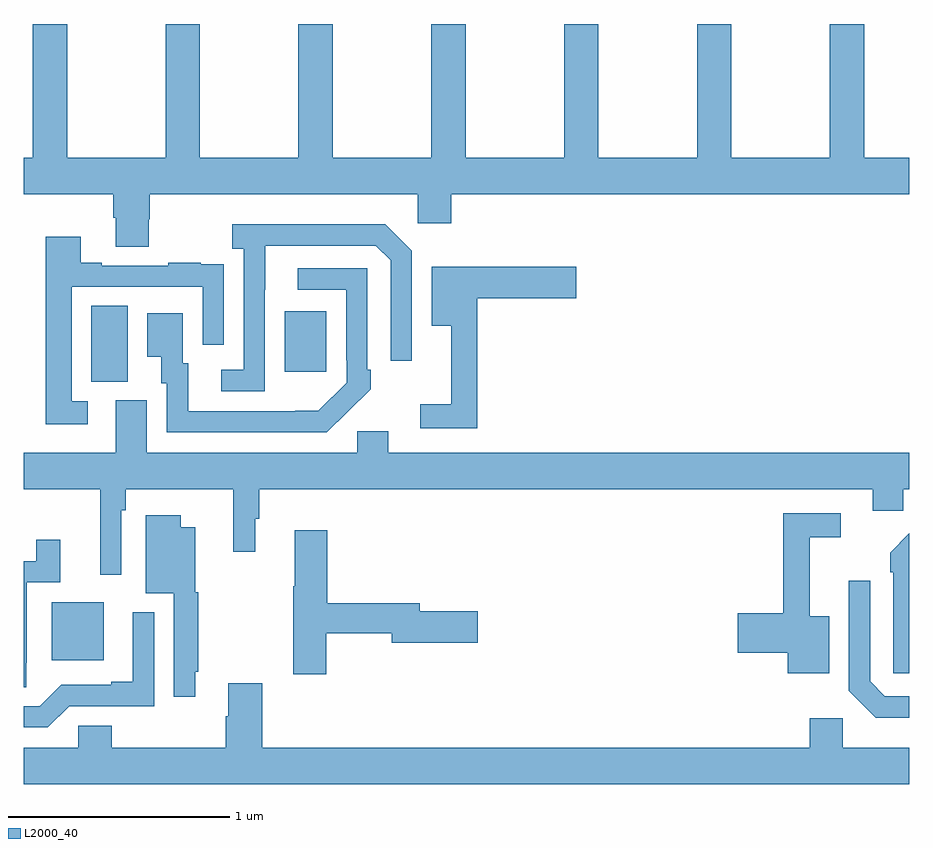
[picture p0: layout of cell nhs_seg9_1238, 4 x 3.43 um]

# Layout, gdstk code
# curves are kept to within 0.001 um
import gdstk
lib = gdstk.Library(unit=1e-6, precision=1e-09)
def R(c, l, rs):  # rectangles x0, y0, x1, y1
    for r in rs: c.add(gdstk.rectangle(r[:2], r[2:], *l))
def P(c, l, *ps):  # polygons
    for p in ps: c.add(gdstk.Polygon(p, *l))
L2000_40 = (2000, 40)

nhs_seg9_1238 = lib.new_cell('nhs_seg9_1238')
R(nhs_seg9_1238, L2000_40, [(179.126,1215.626,179.362,1215.889), (179.306,1216.885,179.47,1217.228), (180.179,1216.929,180.367,1217.203)])
P(nhs_seg9_1238, L2000_40, [(183,1217.896),(182.796,1217.896),(182.796,1218.5),(182.641,1218.5),(182.641,1217.896),(182.196,1217.896),(182.196,1218.5),(182.041,1218.5),(182.041,1217.896),(181.596,1217.896),(181.596,1218.5),(181.441,1218.5),(181.441,1217.896),(180.996,1217.896),(180.996,1218.5),(180.841,1218.5),(180.841,1217.896),(180.396,1217.896),(180.396,1218.5),(180.241,1218.5),(180.241,1217.896),(179.796,1217.896),(179.796,1218.5),(179.641,1218.5),(179.641,1217.896),(179.196,1217.896),(179.196,1218.5),(179.041,1218.5),(179.041,1217.896),(179,1217.896),(179,1217.732),(179.405,1217.732),(179.405,1217.626),(179.417,1217.626),(179.417,1217.494),(179.565,1217.494),(179.565,1217.619),(179.57,1217.619),(179.57,1217.732),(180.78,1217.732),(180.78,1217.601),(180.932,1217.601),(180.932,1217.732),(183,1217.732)],
  [(180.09,1217.299),(180.091,1217.499),(180.591,1217.499),(180.657,1217.433),(180.657,1216.98),(180.753,1216.98),(180.753,1217.475),(180.632,1217.596),(179.943,1217.596),(179.943,1217.486),(179.994,1217.486),(179.994,1216.938),(179.892,1216.938),(179.892,1216.842),(180.09,1216.842)],
  [(179.29,1216.797),(179.217,1216.797),(179.217,1217.313),(179.808,1217.313),(179.808,1217.052),(179.904,1217.052),(179.904,1217.306),(179.903,1217.306),(179.903,1217.415),(179.801,1217.415),(179.801,1217.422),(179.653,1217.422),(179.653,1217.409),(179.353,1217.409),(179.353,1217.422),(179.257,1217.422),(179.257,1217.539),(179.101,1217.539),(179.101,1216.692),(179.29,1216.692)],
  [(181.049,1217.261),(181.495,1217.261),(181.495,1217.403),(180.842,1217.403),(180.842,1217.138),(180.932,1217.138),(180.932,1216.783),(180.792,1216.783),(180.792,1216.674),(181.049,1216.674)],
  [(180.461,1216.747),(180.462,1216.746),(180.567,1216.851),(180.567,1216.939),(180.552,1216.939),(180.552,1217.397),(180.237,1217.397),(180.237,1217.301),(180.456,1217.301),(180.456,1216.981),(180.459,1216.981),(180.459,1216.881),(180.331,1216.753),(179.743,1216.752),(179.743,1216.968),(179.719,1216.968),(179.719,1217.194),(179.558,1217.194),(179.558,1216.997),(179.621,1216.997),(179.621,1216.878),(179.646,1216.878),(179.646,1216.656),(180.37,1216.656)],
  [(179.442,1216.304),(179.462,1216.304),(179.462,1216.4),(179.947,1216.4),(179.947,1216.116),(180.046,1216.116),(180.046,1216.266),(180.065,1216.266),(180.065,1216.4),(182.834,1216.4),(182.834,1216.302),(182.973,1216.302),(182.973,1216.4),(183,1216.4),(183,1216.564),(180.646,1216.564),(180.646,1216.662),(180.507,1216.662),(180.507,1216.564),(179.557,1216.564),(179.557,1216.8),(179.417,1216.8),(179.417,1216.564),(179,1216.564),(179,1216.4),(179.345,1216.4),(179.345,1216.014),(179.442,1216.014)],
  [(182.638,1215.826),(182.549,1215.826),(182.549,1216.182),(182.689,1216.182),(182.689,1216.29),(182.431,1216.29),(182.431,1215.839),(182.226,1215.839),(182.226,1215.661),(182.45,1215.661),(182.45,1215.569),(182.638,1215.569)],
  [(179.776,1215.574),(179.788,1215.574),(179.788,1215.933),(179.776,1215.933),(179.776,1216.228),(179.71,1216.228),(179.71,1216.282),(179.552,1216.282),(179.552,1215.929),(179.679,1215.929),(179.679,1215.462),(179.776,1215.462)],
  [(180.366,1215.748),(180.662,1215.748),(180.662,1215.706),(181.051,1215.706),(181.051,1215.848),(180.79,1215.848),(180.79,1215.884),(180.371,1215.884),(180.371,1216.213),(180.224,1216.213),(180.224,1215.961),(180.217,1215.961),(180.217,1215.564),(180.366,1215.564)],
  [(183,1216.2),(182.913,1216.113),(182.913,1216.025),(182.928,1216.025),(182.928,1215.567),(183,1215.567)],
  [(179.013,1215.616),(179.014,1215.616),(179.014,1215.978),(179.165,1215.978),(179.165,1216.171),(179.056,1216.171),(179.056,1216.074),(179,1216.074),(179,1215.505),(179.013,1215.505)],
  [(183,1215.465),(182.889,1215.465),(182.823,1215.531),(182.823,1215.985),(182.727,1215.985),(182.727,1215.489),(182.848,1215.368),(183,1215.368)],
  [(179.205,1215.42),(179.589,1215.42),(179.589,1215.844),(179.492,1215.844),(179.492,1215.529),(179.396,1215.529),(179.396,1215.516),(179.169,1215.516),(179.073,1215.42),(179,1215.42),(179,1215.324),(179.109,1215.324)],
  [(183,1215.232),(182.7,1215.232),(182.7,1215.364),(182.549,1215.364),(182.549,1215.232),(180.077,1215.232),(180.077,1215.523),(179.924,1215.523),(179.924,1215.374),(179.912,1215.374),(179.912,1215.232),(179.399,1215.232),(179.399,1215.33),(179.247,1215.33),(179.247,1215.232),(179,1215.232),(179,1215.068),(183,1215.068)])

lib.write_gds('nhs_seg9_1238.gds')
